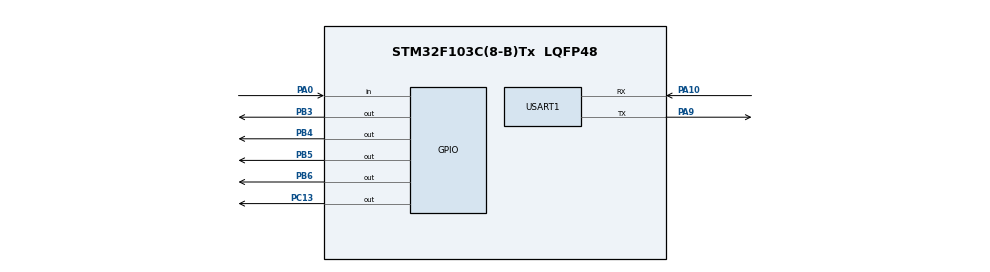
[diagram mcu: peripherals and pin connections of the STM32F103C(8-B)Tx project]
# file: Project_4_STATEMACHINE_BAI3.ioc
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Mcu.Family=STM32F1
Mcu.Name=STM32F103C(8-B)Tx
Mcu.Package=LQFP48
NVIC.PriorityGroup=NVIC_PRIORITYGROUP_4
NVIC.USART1_IRQn=true\:0\:0\:false\:false\:true\:true\:true\:true
PA0-WKUP.GPIO_PuPd=GPIO_PULLUP
PA0-WKUP.Signal=GPIO_Input
PA10.Mode=Asynchronous
PA10.Signal=USART1_RX
PA13.Mode=Serial_Wire
PA13.Signal=SYS_JTMS-SWDIO
PA14.Mode=Serial_Wire
PA14.Signal=SYS_JTCK-SWCLK
PA9.Mode=Asynchronous
PA9.Signal=USART1_TX
PB3.Signal=GPIO_Output
PB4.Signal=GPIO_Output
PB5.Signal=GPIO_Output
PB6.Signal=GPIO_Output
PC13-TAMPER-RTC.Signal=GPIO_Output
ProjectManager.HeapSize=0x200
ProjectManager.StackSize=0x400
ProjectManager.TargetToolchain=STM32CubeIDE
RCC.APB1Freq_Value=8000000
RCC.APB2Freq_Value=8000000
USART1.VirtualMode=VM_ASYNC
board=custom

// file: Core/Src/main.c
/* USER CODE BEGIN Header */
/**
  ******************************************************************************
  * @file           : main.c
  * @brief          : Main program body
  ******************************************************************************
  * @attention
  *
  * Copyright (c) 2022 STMicroelectronics.
  * All rights reserved.
  *
  * This software is licensed under terms that can be found in the LICENSE file
  * in the root directory of this software component.
  * If no LICENSE file comes with this software, it is provided AS-IS.
  *
  ******************************************************************************
  */
/* USER CODE END Header */
#include "main.h"

UART_HandleTypeDef huart1;

/* USER CODE BEGIN PV */
// declare UART
uint8_t Rx_Buff = 0;
uint8_t uart_buffer[100];
uint8_t position_uart = 0;
uint8_t uart_flag = 0;

// declare effect led
enum{
	EFFECT_0,
	EFFECT_1,
	EFFECT_2,
	EFFECT_OFF,
};
uint8_t effect = EFFECT_0;
uint8_t ON = 0;
uint32_t led_timer = 0;
uint32_t temp_timer = 0;
#define LED_1 0x00000078
#define LED_2 0x00000018
#define LED_3 0x00000060

// declare button
uint8_t deboucing_state = 1;
uint8_t current_state = 1;
uint8_t last_state = 1;
uint8_t is_deboucing = 0;
uint8_t is_pressing = 0;
uint32_t deboucing_timer = 0;
uint32_t pressing_timer = 0;
/* USER CODE END PV */

void SystemClock_Config(void);
static void MX_GPIO_Init(void);
static void MX_USART1_UART_Init(void);

/* USER CODE BEGIN 0 */
void HAL_UART_RxCpltCallback(UART_HandleTypeDef *huart)
{
	if(huart->Instance == huart1.Instance)
	{
		if(Rx_Buff != '\n')
		{
			uart_buffer[position_uart] = Rx_Buff;
			position_uart++;
		}
		else
		{
			uart_buffer[position_uart] = '\0';
			uart_flag = 1;
		}
		HAL_UART_Receive_IT(huart, &Rx_Buff, 1);
	}
}
void UART_Handle()
{
	if(uart_flag==1)
	{
		//cut string

		char *arg_list[10];
		uint8_t arg_position = 0;

		char *temp_token = strtok((char *)uart_buffer, " ");
		while(temp_token != NULL)
		{
			arg_list[arg_position]= temp_token;
			arg_position++;
			temp_token = strtok(NULL, " ");
		}

		// Solution
		if(strcmp(arg_list[0], "EFFECT")==0)
		{
			if(strcmp(arg_list[1], "0")==0) effect = EFFECT_0;
			if(strcmp(arg_list[1], "1")==0) effect = EFFECT_1;
			if(strcmp(arg_list[1], "2")==0) effect = EFFECT_2;
		}
		if(strcmp(arg_list[0], "OFF")==0)
		{
			effect = EFFECT_OFF;
		}
		uart_flag = 0;
		position_uart = 0;
	}
}

void BUTTON_Handle()
{
	uint8_t temp_state = HAL_GPIO_ReadPin(GPIOA, GPIO_PIN_0);
	// detecting

	if(temp_state != deboucing_state)
	{
		deboucing_state = temp_state;
		is_deboucing = 1;
		deboucing_timer = HAL_GetTick();
	}

	//deboucing

	if(is_deboucing == 1 && (HAL_GetTick() - deboucing_timer > 15))
	{
		current_state = deboucing_state;
		is_deboucing = 0;
	}
	if(current_state != last_state)
	{
		if(current_state==0)
		{
			is_pressing = 1;
			pressing_timer = HAL_GetTick();
		}
		else
		{
			is_pressing = 0;
		}
		last_state = current_state;
	}
	if(is_pressing == 1 && (HAL_GetTick() - pressing_timer > 2000))
	{
		ON = !ON;
		is_pressing = 0;
	}
}

void LED_Effect()
{
	if(ON==1)
	{
		switch(effect)
		{
		case EFFECT_0:
			if(HAL_GetTick() - led_timer > 500)
			{
				if((GPIOB->ODR & LED_1)==0)
				{
					GPIOB->ODR = GPIOB->ODR | LED_1;
				}
				else
				{
					GPIOB->ODR = GPIOB->ODR & ~LED_1;
				}
				led_timer = HAL_GetTick();
			}
			break;
		case EFFECT_1:
			if(HAL_GetTick() - led_timer > 400)
			{
				if((GPIOB->ODR & LED_2) == 0)
				{
					GPIOB->ODR = GPIOB->ODR | LED_2;
					GPIOB->ODR = GPIOB->ODR & ~LED_3;
				}
				else
				{
					GPIOB->ODR = GPIOB->ODR & ~LED_2;
					GPIOB->ODR = GPIOB->ODR | LED_3;
				}
				led_timer = HAL_GetTick();
			}
			break;
		case EFFECT_2:
			if(HAL_GetTick() - temp_timer >= 1000)
			{
				led_timer = HAL_GetTick();
				temp_timer = HAL_GetTick();
			}

			if(HAL_GetTick() - led_timer < 200)
			{
				HAL_GPIO_WritePin(GPIOB, GPIO_PIN_3, 1);
				HAL_GPIO_WritePin(GPIOB, GPIO_PIN_4, 0);
				HAL_GPIO_WritePin(GPIOB, GPIO_PIN_5, 0);
				HAL_GPIO_WritePin(GPIOB, GPIO_PIN_6, 0);
			}
			else if( HAL_GetTick() - led_timer < 400)
			{
				HAL_GPIO_WritePin(GPIOB, GPIO_PIN_3, 1);
				HAL_GPIO_WritePin(GPIOB, GPIO_PIN_4, 1);
				HAL_GPIO_WritePin(GPIOB, GPIO_PIN_5, 0);
				HAL_GPIO_WritePin(GPIOB, GPIO_PIN_6, 0);
			}
			else if( HAL_GetTick() - led_timer < 600)
			{
				HAL_GPIO_WritePin(GPIOB, GPIO_PIN_3, 1);
				HAL_GPIO_WritePin(GPIOB, GPIO_PIN_4, 1);
				HAL_GPIO_WritePin(GPIOB, GPIO_PIN_5, 1);
				HAL_GPIO_WritePin(GPIOB, GPIO_PIN_6, 0);
			}
			else if(HAL_GetTick() - led_timer > 600)
			{
				HAL_GPIO_WritePin(GPIOB, GPIO_PIN_3, 1);
				HAL_GPIO_WritePin(GPIOB, GPIO_PIN_4, 1);
				HAL_GPIO_WritePin(GPIOB, GPIO_PIN_5, 1);
				HAL_GPIO_WritePin(GPIOB, GPIO_PIN_6, 1);
			}
			break;
		case EFFECT_OFF:
			GPIOB->ODR = GPIOB->ODR & ~LED_1;
			break;
		}
	}
	else
	{
		GPIOB->ODR = GPIOB->ODR & ~LED_1;
	}
}
/* USER CODE END 0 */

int main(void)
{

  /* MCU Configuration--------------------------------------------------------*/

  /* Reset of all peripherals, Initializes the Flash interface and the Systick. */
  HAL_Init();

  /* Configure the system clock */
  SystemClock_Config();

  /* Initialize all configured peripherals */
  MX_GPIO_Init();
  MX_USART1_UART_Init();
  /* USER CODE BEGIN 2 */
  HAL_UART_Receive_IT(&huart1, &Rx_Buff, 1);
  /* USER CODE END 2 */

  /* Infinite loop */
  while (1)
  {

    /* USER CODE BEGIN 3 */
	  UART_Handle();
	  BUTTON_Handle();
	  LED_Effect();
  }
  /* USER CODE END 3 */
}

void SystemClock_Config(void)
{
  RCC_OscInitTypeDef RCC_OscInitStruct = {0};
  RCC_ClkInitTypeDef RCC_ClkInitStruct = {0};

  /** Initializes the RCC Oscillators according to the specified parameters
  * in the RCC_OscInitTypeDef structure.
  */
  RCC_OscInitStruct.OscillatorType = RCC_OSCILLATORTYPE_HSI;
  RCC_OscInitStruct.HSIState = RCC_HSI_ON;
  RCC_OscInitStruct.HSICalibrationValue = RCC_HSICALIBRATION_DEFAULT;
  RCC_OscInitStruct.PLL.PLLState = RCC_PLL_NONE;
  if (HAL_RCC_OscConfig(&RCC_OscInitStruct) != HAL_OK)
  {
    Error_Handler();
  }

  /** Initializes the CPU, AHB and APB buses clocks
  */
  RCC_ClkInitStruct.ClockType = RCC_CLOCKTYPE_HCLK|RCC_CLOCKTYPE_SYSCLK
                              |RCC_CLOCKTYPE_PCLK1|RCC_CLOCKTYPE_PCLK2;
  RCC_ClkInitStruct.SYSCLKSource = RCC_SYSCLKSOURCE_HSI;
  RCC_ClkInitStruct.AHBCLKDivider = RCC_SYSCLK_DIV1;
  RCC_ClkInitStruct.APB1CLKDivider = RCC_HCLK_DIV1;
  RCC_ClkInitStruct.APB2CLKDivider = RCC_HCLK_DIV1;

  if (HAL_RCC_ClockConfig(&RCC_ClkInitStruct, FLASH_LATENCY_0) != HAL_OK)
  {
    Error_Handler();
  }
}

static void MX_USART1_UART_Init(void)
{

  huart1.Instance = USART1;
  huart1.Init.BaudRate = 115200;
  huart1.Init.WordLength = UART_WORDLENGTH_8B;
  huart1.Init.StopBits = UART_STOPBITS_1;
  huart1.Init.Parity = UART_PARITY_NONE;
  huart1.Init.Mode = UART_MODE_TX_RX;
  huart1.Init.HwFlowCtl = UART_HWCONTROL_NONE;
  huart1.Init.OverSampling = UART_OVERSAMPLING_16;
  if (HAL_UART_Init(&huart1) != HAL_OK)
  {
    Error_Handler();
  }

}

static void MX_GPIO_Init(void)
{
  GPIO_InitTypeDef GPIO_InitStruct = {0};

  /* GPIO Ports Clock Enable */
  __HAL_RCC_GPIOC_CLK_ENABLE();
  __HAL_RCC_GPIOA_CLK_ENABLE();
  __HAL_RCC_GPIOB_CLK_ENABLE();

  /*Configure GPIO pin Output Level */
  HAL_GPIO_WritePin(GPIOC, GPIO_PIN_13, GPIO_PIN_RESET);

  /*Configure GPIO pin Output Level */
  HAL_GPIO_WritePin(GPIOB, GPIO_PIN_3|GPIO_PIN_4|GPIO_PIN_5|GPIO_PIN_6, GPIO_PIN_RESET);

  /*Configure GPIO pin : PC13 */
  GPIO_InitStruct.Pin = GPIO_PIN_13;
  GPIO_InitStruct.Mode = GPIO_MODE_OUTPUT_PP;
  GPIO_InitStruct.Pull = GPIO_NOPULL;
  GPIO_InitStruct.Speed = GPIO_SPEED_FREQ_LOW;
  HAL_GPIO_Init(GPIOC, &GPIO_InitStruct);

  /*Configure GPIO pin : PA0 */
  GPIO_InitStruct.Pin = GPIO_PIN_0;
  GPIO_InitStruct.Mode = GPIO_MODE_INPUT;
  GPIO_InitStruct.Pull = GPIO_PULLUP;
  HAL_GPIO_Init(GPIOA, &GPIO_InitStruct);

  /*Configure GPIO pins : PB3 PB4 PB5 PB6 */
  GPIO_InitStruct.Pin = GPIO_PIN_3|GPIO_PIN_4|GPIO_PIN_5|GPIO_PIN_6;
  GPIO_InitStruct.Mode = GPIO_MODE_OUTPUT_PP;
  GPIO_InitStruct.Pull = GPIO_NOPULL;
  GPIO_InitStruct.Speed = GPIO_SPEED_FREQ_LOW;
  HAL_GPIO_Init(GPIOB, &GPIO_InitStruct);

}

void Error_Handler(void)
{
  __disable_irq();
  while (1)
  {
  }
}
